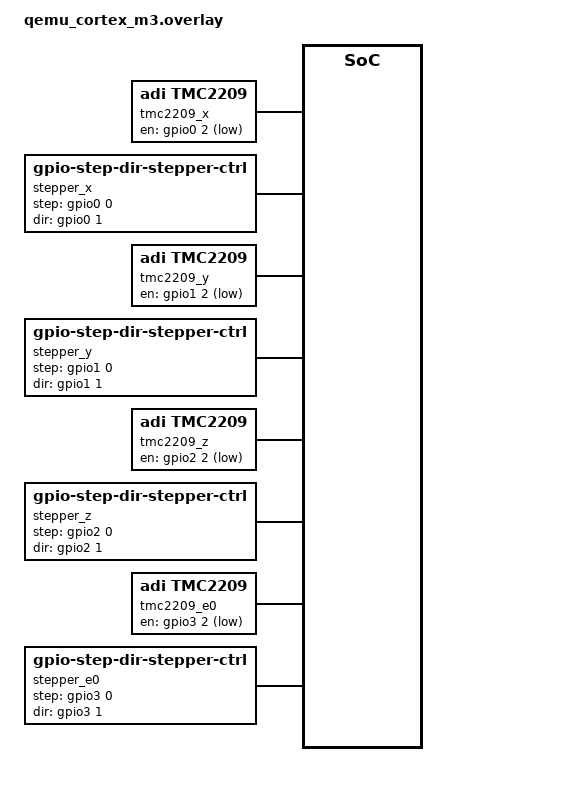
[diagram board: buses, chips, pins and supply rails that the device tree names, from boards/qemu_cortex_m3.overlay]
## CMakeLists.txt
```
#-------------------------------------------------------------------------------
# Zephyr Example Application
#
# Copyright (c) 2021 Nordic Semiconductor ASA
# SPDX-License-Identifier: Apache-2.0

cmake_minimum_required(VERSION 3.13.1)
# Grbl g-code parser module (GPL-3.0-or-later), see modules/grbl_gcode/README.md.
list(APPEND ZEPHYR_EXTRA_MODULES ${CMAKE_CURRENT_LIST_DIR}/../modules/grbl_gcode)

find_package(Zephyr REQUIRED HINTS $ENV{ZEPHYR_BASE})

project(app LANGUAGES C CXX)

target_sources(app PRIVATE src/main.cpp)

# The code below locates the git index file for this repository and adds it as a dependency for
# the application VERSION file so that if the repo has a new commit added, even if no files in
# the build have changed, the application version file will be regenerated with the new git commit
find_package(Git QUIET)
if(GIT_FOUND)
  execute_process(
    COMMAND ${GIT_EXECUTABLE} rev-parse --absolute-git-dir
    WORKING_DIRECTORY .
    OUTPUT_VARIABLE application_git_dir
    OUTPUT_STRIP_TRAILING_WHITESPACE
    ERROR_STRIP_TRAILING_WHITESPACE
    ERROR_VARIABLE stderr
    RESULT_VARIABLE return_code
  )
  # If there is an error e.g. it is not a git repo, we just silently ignore it and continue
  # without a dependency, this will be the case with freestanding applications.
  if(NOT return_code)
    if(NOT "${stderr}" STREQUAL "")
      message(WARNING "Application build version git rev-parse warned: ${stderr}")
    endif()

    set_property(TARGET app_version_h PROPERTY APP_VERSION_DEPENDS ${application_git_dir}/index)
  endif()
endif()
```

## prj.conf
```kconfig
# Copyright (c) 2021 Nordic Semiconductor ASA
# SPDX-License-Identifier: Apache-2.0
#
# This file contains selected Kconfig options for the application.

CONFIG_CONSOLE=y
CONFIG_PRINTK=y
CONFIG_GPIO=y
CONFIG_COUNTER=y
CONFIG_STEPPER=y
CONFIG_COUNTER_TIMER_STM32=y
CONFIG_UNITS=y
CONFIG_STD_CPP23=y
CONFIG_CPP=y
# Full libstdc++ instead of Zephyr's minimal C++ library: pc_parser uses
# <expected>, <span> and <algorithm>.
CONFIG_REQUIRES_FULL_LIBCPP=y
# C++ thread wrappers (lib/thread): the app's threads are declared in main.cpp.
CONFIG_RTOS_THREAD=y

CONFIG_NO_OPTIMIZATIONS=y
CONFIG_GRBL_GCODE=y
# The g-code parser needs more than the default 1 KB main stack, especially
# with CONFIG_NO_OPTIMIZATIONS.
CONFIG_MAIN_STACK_SIZE=4096
```

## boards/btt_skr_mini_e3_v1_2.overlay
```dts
/* Point the sample's stepper0 label at the board's X-axis stepper */
stepper0: &stepper_x {
};
```

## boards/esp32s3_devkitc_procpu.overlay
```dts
&usb_serial {
	status = "okay";
};
```

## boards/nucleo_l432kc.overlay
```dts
/{
    tmc2209: tmc2209 {
        compatible = "adi,tmc2209";
        en-gpios = <&gpiob 0 GPIO_ACTIVE_HIGH>;
        m0-gpios = <&gpiob 1 GPIO_ACTIVE_HIGH>;
        m1-gpios = <&gpioa 7 GPIO_ACTIVE_HIGH>;
        status = "okay";
    };

    stepper0: motion-controller {
        compatible = "zephyr,gpio-step-dir-stepper-ctrl";
        step-gpios = <&gpioa 10 GPIO_ACTIVE_HIGH>;
        dir-gpios = <&gpioa 11 GPIO_ACTIVE_HIGH>;
        counter = <&counter1>;

        // stepper-driver = <&tmc2209>;
        status = "okay";
    };
};

/* 1. Configure the STM32 Hardware Timer */
&timers2 {
    status = "okay";
    st,prescaler = <1>;

    /* Child node providing the counter API */
    counter1: counter {
        compatible = "st,stm32-counter";
        status = "okay";
    };
};

&pwm2 {
    status = "disabled";
};
```

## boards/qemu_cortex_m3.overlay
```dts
/*
 * QEMU (qemu_cortex_m3 / TI LM3S6965) stand-in for the BTT SKR Mini E3 V1.2
 * stepper wiring, using the board's real onboard GPIO controllers in place
 * of the STM32 GPIO ports (QEMU has no STM32F103 machine model).
 *
 * X/Y/Z/E0 each get a dedicated GPIO port so the layout mirrors
 * btt_skr_mini_e3_v1_2.dts: pin 0 = STEP, pin 1 = DIR, pin 2 = EN.
 */

#include <zephyr/dt-bindings/gpio/gpio.h>

/ {
	aliases {
		stepper-x-driver = &tmc2209_x;
		stepper-x-ctrl = &stepper_x;
		stepper-y-driver = &tmc2209_y;
		stepper-y-ctrl = &stepper_y;
		stepper-z-driver = &tmc2209_z;
		stepper-z-ctrl = &stepper_z;
		stepper-e0-driver = &tmc2209_e0;
		stepper-e0-ctrl = &stepper_e0;
	};

	tmc2209_x: tmc2209-x {
		compatible = "adi,tmc2209";
		en-gpios = <&gpio0 2 GPIO_ACTIVE_LOW>;
	};

	stepper_x: stepper0: stepper-x {
		compatible = "zephyr,gpio-step-dir-stepper-ctrl";
		step-gpios = <&gpio0 0 GPIO_ACTIVE_HIGH>;
		dir-gpios = <&gpio0 1 GPIO_ACTIVE_HIGH>;
		stepper-driver = <&tmc2209_x>;
	};

	tmc2209_y: tmc2209-y {
		compatible = "adi,tmc2209";
		en-gpios = <&gpio1 2 GPIO_ACTIVE_LOW>;
	};

	stepper_y: stepper-y {
		compatible = "zephyr,gpio-step-dir-stepper-ctrl";
		step-gpios = <&gpio1 0 GPIO_ACTIVE_HIGH>;
		dir-gpios = <&gpio1 1 GPIO_ACTIVE_HIGH>;
		stepper-driver = <&tmc2209_y>;
	};

	tmc2209_z: tmc2209-z {
		compatible = "adi,tmc2209";
		en-gpios = <&gpio2 2 GPIO_ACTIVE_LOW>;
	};

	stepper_z: stepper-z {
		compatible = "zephyr,gpio-step-dir-stepper-ctrl";
		step-gpios = <&gpio2 0 GPIO_ACTIVE_HIGH>;
		dir-gpios = <&gpio2 1 GPIO_ACTIVE_HIGH>;
		stepper-driver = <&tmc2209_z>;
	};

	tmc2209_e0: tmc2209-e0 {
		compatible = "adi,tmc2209";
		en-gpios = <&gpio3 2 GPIO_ACTIVE_LOW>;
	};

	stepper_e0: stepper-e0 {
		compatible = "zephyr,gpio-step-dir-stepper-ctrl";
		step-gpios = <&gpio3 0 GPIO_ACTIVE_HIGH>;
		dir-gpios = <&gpio3 1 GPIO_ACTIVE_HIGH>;
		stepper-driver = <&tmc2209_e0>;
	};
};
```

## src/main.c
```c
#include <zephyr/sys/printk.h>
#include <zephyr/kernel.h>
#include <zephyr/devicetree.h>
#include <zephyr/device.h>
#include <zephyr/drivers/gpio.h>
#include <app/drivers/myled.h>
#include <zephyr/drivers/stepper/stepper.h>
#include <zephyr/drivers/stepper/stepper_ctrl.h>

static const struct device *stepper_dev = DEVICE_DT_GET(DT_NODELABEL(stepper0));


int main()
{

	bool ret = device_is_ready(stepper_dev);

	if(!ret){
        k_panic();
    }



    // /* Enable driver and set motion bounds */
    stepper_enable(stepper_dev);
    stepper_ctrl_set_microstep_interval(stepper_dev, 500e3);

    // /* 1. Move to absolute position +6400 (blocking) */
    stepper_ctrl_move_to(stepper_dev, 200*8*69);

    k_msleep(1000);

	
    // stepper_ctrl_move_to(stepper_dev, 0);

    // /* 2. Move to absolute position 0 (returns to origin) */
    // stepper_move_to(stepper_dev, 0, NULL);

	while (1)
	{
        printk("gay\r\n");
        k_msleep(1000);

		// run_blink();
	}
}
```

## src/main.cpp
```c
#include <math.h>

#include <zephyr/sys/printk.h>
#include <zephyr/kernel.h>
#include <zephyr/devicetree.h>
#include <zephyr/device.h>
#include <atomic>

#include <zephyr/drivers/gpio.h>
#include <zephyr/drivers/stepper/stepper.h>
#include <zephyr/drivers/stepper/stepper_ctrl.h>
#include <app/lib/units.hpp>
#include <app/lib/thread.hpp>
#include <grbl/gcode.h>

using namespace units::literals;

#define STEPPER_NODE DT_NODELABEL(stepper0)

/* Motion controller: generates step/dir pulses and tracks position. */
static const struct device *stepper_dev = DEVICE_DT_GET(STEPPER_NODE);

/* Stepper driver chip (e.g. TMC2209) linked from stepper0, if the board has one. */
#if DT_NODE_HAS_PROP(STEPPER_NODE, stepper_driver)
static const struct device *stepper_driver_dev =
    DEVICE_DT_GET(DT_PHANDLE(STEPPER_NODE, stepper_driver));
#endif

/* stepper0 drives the X axis. Adjust these to the machine's mechanics. */
constexpr float kFullStepsPerRev = 200.0f;
constexpr float kMicrosteps = 8.0f;
constexpr float kMmPerRev = 8.0f; /* T8 lead screw */
constexpr float kMicrostepsPerMm = kFullStepsPerRev * kMicrosteps / kMmPerRev;

/* Speed used for G0 rapid moves. */
constexpr float kRapidFeedMmPerMin = 1500.0f;

/* G-code program to run at startup. */
static const char *const program[] = {
    "G21 G90",      /* Millimetres, absolute positioning */
    "G1 X10 F1500", /* Move to X = 10 mm at 1500 mm/min */
    "G91 G1 X-2.5", /* Move 2.5 mm back, relative to the current position */
    "G90 G0 X0",    /* Rapid back to X = 0 */
};

static float current_x_mm;

static void wait_until_stopped()
{
    bool moving = true;

    while ((stepper_ctrl_is_moving(stepper_dev, &moving) == 0) && moving)
    {
        k_msleep(10);
    }
}

/* Called by the g-code parser for G0/G1 moves. Target is in machine mm. */
static void gcode_line(void *user_data, const float target[GC_N_AXIS],
                       const struct gc_plan_data *pl)
{
    ARG_UNUSED(user_data);

    float target_x_mm = target[GC_X_AXIS];
    float feed_mm_per_min;

    if (pl->condition & PL_COND_FLAG_RAPID_MOTION)
    {
        feed_mm_per_min = kRapidFeedMmPerMin;
    }
    else if (pl->condition & PL_COND_FLAG_INVERSE_TIME)
    {
        /* G93: F is moves per minute, so the speed depends on the distance. */
        feed_mm_per_min = fabsf(target_x_mm - current_x_mm) * pl->feed_rate;
    }
    else
    {
        feed_mm_per_min = pl->feed_rate;
    }

    if (feed_mm_per_min > 0.0f)
    {
        uint64_t interval_ns =
            (uint64_t)(60e9f / (feed_mm_per_min * kMicrostepsPerMm));
        stepper_ctrl_set_microstep_interval(stepper_dev, interval_ns);
    }

    int32_t target_steps = (int32_t)lroundf(target_x_mm * kMicrostepsPerMm);

    /* printk has no float support by default, so print micrometres. */
    printk("move X to %ld um (%d microsteps)\n", lroundf(target_x_mm * 1000.0f),
           target_steps);

    /* The parser expects each move to finish before the next block runs. */
    stepper_ctrl_move_to(stepper_dev, target_steps);
    wait_until_stopped();
    current_x_mm = target_x_mm;
}

static struct gc_machine_ops make_gcode_ops()
{
    struct gc_machine_ops ops = {};

    ops.line = gcode_line;
    return ops;
}

static const struct gc_machine_ops gcode_ops = make_gcode_ops();

/* The board's user LED (LD3): blinks while the program runs, stays on when it is done. */
static const struct gpio_dt_spec status_led = GPIO_DT_SPEC_GET(DT_ALIAS(led0), gpios);

enum class ProgramState
{
    Idle,
    Running,
    Done,
};

/* Written by the gcode thread, read by the status LED thread. */
static std::atomic<ProgramState> program_state{ProgramState::Idle};

/* Runs the g-code program once, then the thread exits. */
static void run_gcode_program()
{
    static struct gc_parser parser;

    gc_init(&parser, &gcode_ops, NULL);
    program_state = ProgramState::Running;

    for (const char *line : program)
    {
        printk("> %s\n", line);
        uint8_t status = gc_execute_raw(&parser, line);
        if (status != STATUS_OK)
        {
            printk("error:%d\n", status);
        }
    }

    program_state = ProgramState::Done;
    printk("program done\n");
}

/* Drives the status LED from the program state. Only this thread touches the LED. */
static void update_status_led()
{
    switch (program_state.load())
    {
    case ProgramState::Running:
        gpio_pin_toggle_dt(&status_led);
        break;
    case ProgramState::Done:
        gpio_pin_set_dt(&status_led, 1);
        break;
    case ProgramState::Idle:
        break;
    }
}

/* Prints the stepper position if it changed since the last call. */
static void print_position_if_changed()
{
    static int32_t last_position = 0;
    int32_t position;

    if (stepper_ctrl_get_actual_position(stepper_dev, &position) == 0 &&
        position != last_position)
    {
        printk("position: %d microsteps\n", position);
        last_position = position;
    }
}

/* Prints the uptime in seconds; called once a second. */
static void print_heartbeat()
{
    static uint32_t seconds = 0;

    printk("heartbeat: %u s\n", ++seconds);
}

/* Reports heartbeat calls skipped because the thread ran late. */
static void report_overrun(uint32_t missed)
{
    printk("heartbeat: %u missed ticks\n", missed);
}

/* All application threads. Lower priority number = higher priority. */
static constexpr std::array threads{
    rtos::ThreadEntry{.name = "position", .fn = print_position_if_changed, .priority = 4,
                      .stack_size = 1024, .period_ms = 100},
    /* runs once; the parser needs a large stack */
    rtos::ThreadEntry{.name = "gcode", .fn = run_gcode_program, .priority = 5,
                      .stack_size = 4096},
    rtos::ThreadEntry{.name = "heartbeat", .fn = print_heartbeat, .priority = 10,
                      .stack_size = 1024, .period_ms = 1000, .start_delay_ms = 500,
                      .on_overrun = report_overrun},
    /* 100 ms period: the LED blinks at 5 Hz while the program runs */
    rtos::ThreadEntry{.name = "status_led", .fn = update_status_led, .priority = 11,
                      .stack_size = 1024, .period_ms = 100},
};

int main()
{
    if (!device_is_ready(stepper_dev))
    {
        k_panic();
    }

    /* Enable the driver chip. stepper_enable() belongs to the driver API, so it must
     * be called on the driver device, not on the stepper0 motion controller.
     */
#if DT_NODE_HAS_PROP(STEPPER_NODE, stepper_driver)
    if (!device_is_ready(stepper_driver_dev))
    {
        k_panic();
    }
    stepper_enable(stepper_driver_dev);
#endif

    /* The LED is only a status indicator, so the program still runs without it. */
    if (!gpio_is_ready_dt(&status_led) ||
        gpio_pin_configure_dt(&status_led, GPIO_OUTPUT_INACTIVE) != 0)
    {
        printk("status LED not available\n");
    }

    rtos::start_threads<threads>();

    /* main's work is done; returning ends the main thread while the others keep running. */
    return 0;
}
```
